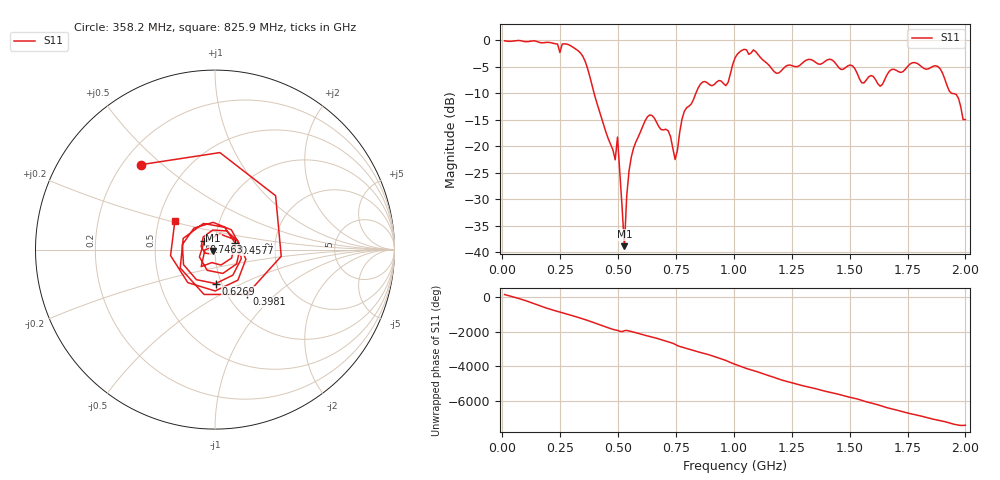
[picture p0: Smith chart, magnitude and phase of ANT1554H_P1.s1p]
!Created with skrf (http://scikit-rf.org).
# Hz S RI R 50.0
!freq ReS11 ImS11
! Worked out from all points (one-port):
!   201 points, 10 MHz to 2 GHz, reference 50 ohm
!   lowest |S11| = -38.8 dB at 527.4 MHz (marker M1), VSWR 1.02, Z = 49 - j0.612 ohm
!   |S11| at or under -10 dB: 396.4 MHz to 836.3 MHz (439.9 MHz wide, 71.4 % of centre); 1.939 GHz to end of sweep
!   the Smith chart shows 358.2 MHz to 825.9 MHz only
!   S11 on the Smith chart (normalised r, x): 358.2 MHz: 0.27, +0.43; 398.1 MHz: 1.23, -0.68; 457.8 MHz: 1.24, +0.10; 626.9 MHz: 0.94, -0.37; 746.3 MHz: 0.88, +0.08; 825.9 MHz: 0.61, +0.21
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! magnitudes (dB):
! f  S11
! 10 MHz  -0.1
! 258.8 MHz  -0.7
! 358.2 MHz  -4.0
! 398.1 MHz  -10.3
! 457.8 MHz  -18.6
! 487.6 MHz  -22.6
! 497.6 MHz  -18.3
! 507.5 MHz  -25.0
! 527.4 MHz  -38.8
! 537.4 MHz  -29.4
! 557.2 MHz  -22.0
! 626.9 MHz  -14.5
! 716.5 MHz  -17.1
! 746.3 MHz  -22.5
! 756.2 MHz  -20.8
! 786.1 MHz  -13.4
! 825.9 MHz  -11.2
! 865.7 MHz  -7.9
! 965.2 MHz  -8.6
! 1.005 GHz  -3.4
! 1.085 GHz  -1.8
! 1.184 GHz  -6.3
! 1.254 GHz  -4.8
! 1.502 GHz  -4.7
! 1.632 GHz  -8.7
! 1.751 GHz  -4.9
! 1.881 GHz  -5.0
! 2 GHz  -15.0
